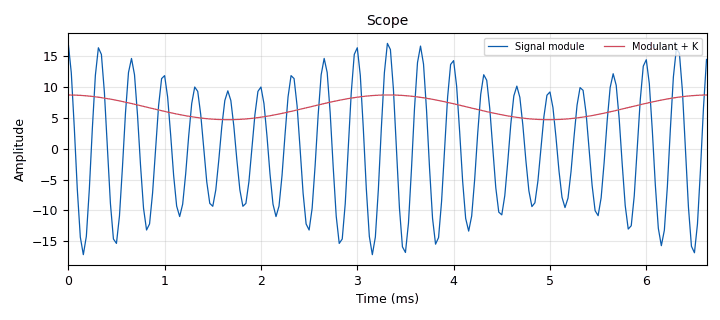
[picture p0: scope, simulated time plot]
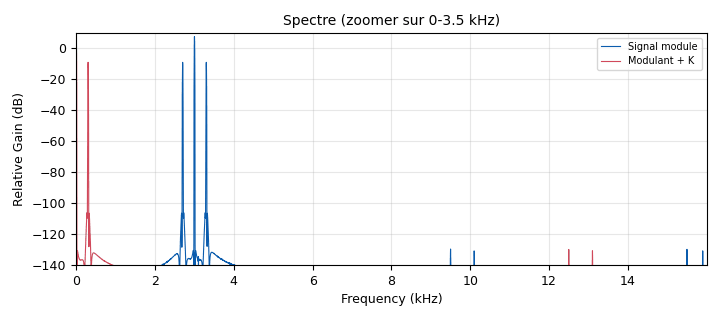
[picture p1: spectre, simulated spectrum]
options:
  parameters:
    author: Groupe 2 - SAE 5.01 NFC
    description: II - MA classique, m = 0.3
    generate_options: qt_gui
    id: MA_classique
    output_language: python
    title: MA_classique
  states: {}

blocks:
- name: AM
  id: variable
  parameters:
    value: '2'
  states: {}
- name: Ap
  id: variable
  parameters:
    value: '2'
  states: {}
- name: K
  id: variable
  parameters:
    comment: Tension continue ajoutee
    value: AM/m
  states: {}
- name: fM
  id: variable
  parameters:
    comment: Modulant (Hz)
    value: '300'
  states: {}
- name: fp
  id: variable
  parameters:
    comment: Porteuse (Hz)
    value: '3000'
  states: {}
- name: m
  id: variable
  parameters:
    comment: Indice de modulation
    value: '0.3'
  states: {}
- name: samp_rate
  id: variable
  parameters:
    value: '32000'
  states: {}
- name: addK
  id: blocks_add_const_vxx
  parameters:
    comment: Ajout de K
    const: K
    type: float
  states: {}
- name: modulant
  id: analog_sig_source_x
  parameters:
    amp: AM
    comment: Modulant
    freq: fM
    offset: '0'
    phase: '0'
    samp_rate: samp_rate
    type: float
    waveform: analog.GR_COS_WAVE
  states: {}
- name: mult
  id: blocks_multiply_xx
  parameters:
    comment: Modulateur
    type: float
  states: {}
- name: porteuse
  id: analog_sig_source_x
  parameters:
    amp: Ap
    comment: Porteuse
    freq: fp
    offset: '0'
    phase: '0'
    samp_rate: samp_rate
    type: float
    waveform: analog.GR_COS_WAVE
  states: {}
- name: scope
  id: qtgui_time_sink_x
  parameters:
    autoscale: 'True'
    grid: 'True'
    label1: '"Signal module"'
    label2: '"Modulant + K"'
    name: '"Scope"'
    nconnections: '2'
    size: int(2*samp_rate/fM)
    srate: samp_rate
    tr_chan: '1'
    tr_mode: qtgui.TRIG_MODE_AUTO
    type: float
  states: {}
- name: spectre
  id: qtgui_freq_sink_x
  parameters:
    bw: samp_rate
    fc: '0'
    fftsize: '8192'
    freqhalf: 'False'
    grid: 'True'
    label1: '"Signal module"'
    label2: '"Modulant + K"'
    name: '"Spectre (zoomer sur 0-3.5 kHz)"'
    nconnections: '2'
    type: float
  states: {}
- name: throttle
  id: blocks_throttle2
  parameters:
    samples_per_second: samp_rate
    type: float
  states: {}

connections:
- [addK, '0', mult, '1']
- [addK, '0', scope, '1']
- [addK, '0', spectre, '1']
- [modulant, '0', addK, '0']
- [mult, '0', scope, '0']
- [mult, '0', spectre, '0']
- [porteuse, '0', throttle, '0']
- [throttle, '0', mult, '0']

metadata:
  file_format: 1
  grc_version: 3.10.12.0
